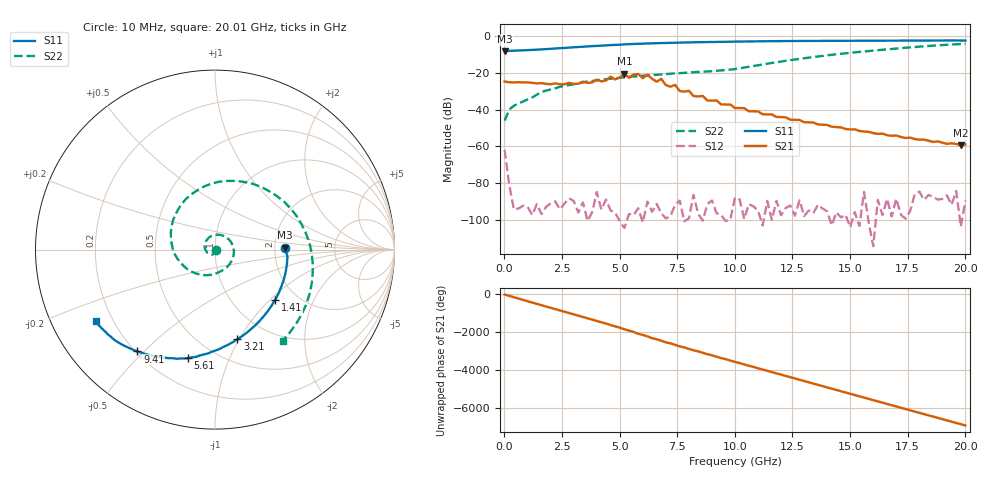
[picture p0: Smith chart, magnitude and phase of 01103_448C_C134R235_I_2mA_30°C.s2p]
!;Filter: kein Filter
!auto
!3/21/2019 9:26:52 AM
!3/21/2019 9:27:07 AM
!SP-Measurements Prober G4
!SP-Measurements Prober G4
!01103_448C
!134
!235
!12
!30
!-20
!0.00199954
!1.75
!0.22129449
!0.22129449
# Hz S  RI  R 50
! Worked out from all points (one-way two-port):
!   101 points, 10 MHz to 20.01 GHz, reference 50 ohm
!   highest |S21| = -20.38 dB at 5.21 GHz (marker M1); lowest = -59.5 dB at 19.81 GHz (marker M2)
!   lowest |S11| = -8.2 dB at 10 MHz (marker M3), VSWR 2.28, Z = 114 + j2.96 ohm
!   |S11| at or under -10 dB: nowhere
!   |S22| runs from -46.0 to -4.0 dB; largest |S21 - S12| = 0.096
!   S11 on the Smith chart (normalised r, x): 10 MHz: 2.28, +0.06; 1.41 GHz: 1.56, -1.07; 3.21 GHz: 0.72, -0.98; 5.61 GHz: 0.36, -0.72; 9.41 GHz: 0.21, -0.48; 20.01 GHz: 0.14, -0.27
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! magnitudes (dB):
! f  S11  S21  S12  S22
! 10 MHz  -8.2  -24.6  -62.0  -46.0
! 210 MHz  -7.8  -25.0  -80.9  -39.9
! 1.41 GHz  -7.2  -25.6  -91.6  -31.8
! 3.21 GHz  -5.8  -25.8  -96.2  -25.5
! 3.41 GHz  -5.6  -24.7  -90.6  -25.0
! 4.81 GHz  -4.6  -23.5  -96.4  -22.9
! 5.21 GHz  -4.3  -20.4  -104.6  -22.3
! 5.41 GHz  -4.2  -22.6  -96.9  -22.1
! 5.61 GHz  -4.1  -20.8  -97.6  -21.9
! 6.01 GHz  -3.9  -22.8  -101.5  -21.5
! 6.21 GHz  -3.8  -20.8  -90.2  -21.3
! 6.61 GHz  -3.7  -24.7  -91.5  -20.9
! 6.81 GHz  -3.6  -23.2  -96.6  -20.7
! 7.01 GHz  -3.6  -26.6  -99.4  -20.5
! 7.41 GHz  -3.4  -26.5  -92.0  -20.1
! 7.61 GHz  -3.4  -29.8  -89.6  -20.0
! 9.41 GHz  -2.9  -37.1  -97.5  -18.6
! 10.01 GHz  -2.8  -39.1  -87.9  -17.8
! 13.41 GHz  -2.4  -47.0  -96.5  -11.2
! 16.81 GHz  -2.3  -54.3  -98.3  -6.8
! 19.81 GHz  -2.2  -59.5  -103.9  -4.1
! 20.01 GHz  -2.2  -59.0  -89.6  -4.0
